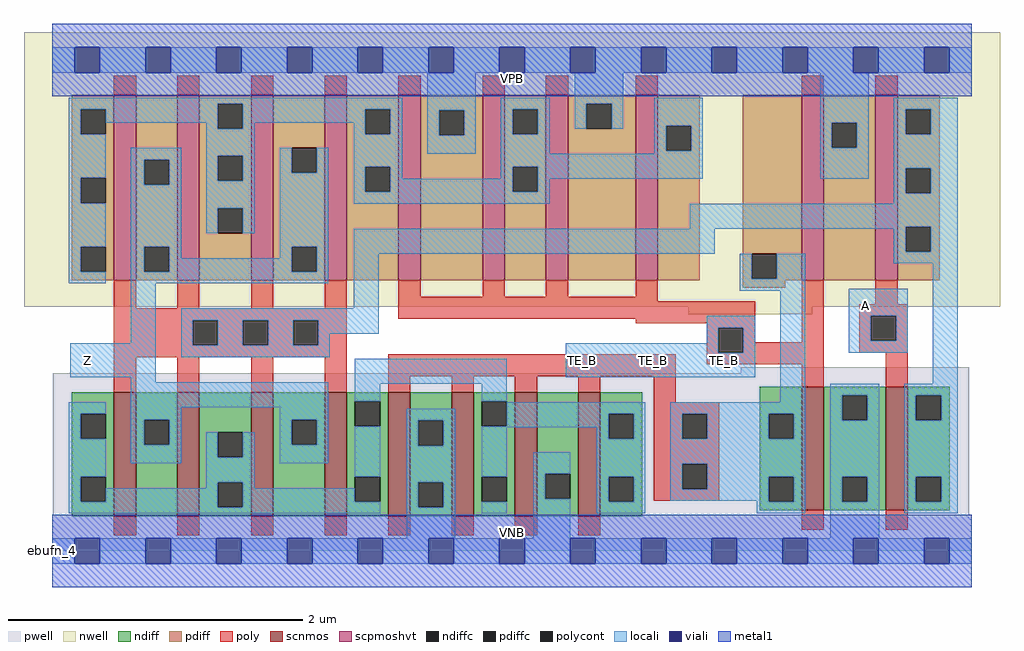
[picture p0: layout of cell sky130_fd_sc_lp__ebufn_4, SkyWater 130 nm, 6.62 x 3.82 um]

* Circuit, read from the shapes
.subckt sky130_fd_sc_lp__ebufn_4 A TE_B VGND VNB VPB VPWR Z
XM1 Z n1 n2 VNB sky130_fd_pr__nfet_01v8 w=0.84 l=0.15 m=4
XM2 VGND n3 n2 VNB sky130_fd_pr__nfet_01v8 w=0.84 l=0.15 m=4
XM3 VGND TE_B n3 VNB sky130_fd_pr__nfet_01v8 w=0.84 l=0.15
XM4 n1 A VGND VNB sky130_fd_pr__nfet_01v8 w=0.84 l=0.15
XM5 Z n1 n4 VPB sky130_fd_pr__pfet_01v8_hvt w=1.26 l=0.15 m=4
XM6 VPWR TE_B n4 VPB sky130_fd_pr__pfet_01v8_hvt w=1.26 l=0.15 m=4
XM7 VPWR TE_B n3 VPB sky130_fd_pr__pfet_01v8_hvt w=1.26 l=0.15
XM8 n1 A VPWR VPB sky130_fd_pr__pfet_01v8_hvt w=1.26 l=0.15
.ends

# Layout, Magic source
magic
tech sky130A
magscale 1 2
<< nwell >>
rect -38 331 1286 704
rect 863 321 1031 331
<< pwell >>
rect 934 241 1244 249
rect 1 49 1244 241
rect 0 0 1248 49
<< scnmos >>
rect 84 47 114 215
rect 170 47 200 215
rect 270 47 300 215
rect 370 47 400 215
rect 456 47 486 215
rect 542 47 572 215
rect 628 47 658 215
rect 714 47 744 215
rect 1017 55 1047 223
rect 1131 55 1161 223
<< scpmoshvt >>
rect 84 367 114 619
rect 170 367 200 619
rect 270 367 300 619
rect 370 367 400 619
rect 470 367 500 619
rect 584 367 614 619
rect 670 367 700 619
rect 792 367 822 619
rect 1017 367 1047 619
rect 1117 367 1147 619
<< ndiff >>
rect 27 186 84 215
rect 27 152 39 186
rect 73 152 84 186
rect 27 101 84 152
rect 27 67 39 101
rect 73 67 84 101
rect 27 47 84 67
rect 114 178 170 215
rect 114 144 125 178
rect 159 144 170 178
rect 114 47 170 144
rect 200 161 270 215
rect 200 127 225 161
rect 259 127 270 161
rect 200 93 270 127
rect 200 59 225 93
rect 259 59 270 93
rect 200 47 270 59
rect 300 178 370 215
rect 300 144 325 178
rect 359 144 370 178
rect 300 47 370 144
rect 400 203 456 215
rect 400 169 411 203
rect 445 169 456 203
rect 400 101 456 169
rect 400 67 411 101
rect 445 67 456 101
rect 400 47 456 67
rect 486 177 542 215
rect 486 143 497 177
rect 531 143 542 177
rect 486 93 542 143
rect 486 59 497 93
rect 531 59 542 93
rect 486 47 542 59
rect 572 203 628 215
rect 572 169 583 203
rect 617 169 628 203
rect 572 101 628 169
rect 572 67 583 101
rect 617 67 628 101
rect 572 47 628 67
rect 658 105 714 215
rect 658 71 669 105
rect 703 71 714 105
rect 658 47 714 71
rect 744 186 801 215
rect 744 152 755 186
rect 789 152 801 186
rect 744 101 801 152
rect 744 67 755 101
rect 789 67 801 101
rect 960 186 1017 223
rect 960 152 972 186
rect 1006 152 1017 186
rect 960 101 1017 152
rect 744 47 801 67
rect 960 67 972 101
rect 1006 67 1017 101
rect 960 55 1017 67
rect 1047 211 1131 223
rect 1047 177 1072 211
rect 1106 177 1131 211
rect 1047 101 1131 177
rect 1047 67 1072 101
rect 1106 67 1131 101
rect 1047 55 1131 67
rect 1161 211 1218 223
rect 1161 177 1172 211
rect 1206 177 1218 211
rect 1161 101 1218 177
rect 1161 67 1172 101
rect 1206 67 1218 101
rect 1161 55 1218 67
<< pdiff >>
rect 27 599 84 619
rect 27 565 39 599
rect 73 565 84 599
rect 27 506 84 565
rect 27 472 39 506
rect 73 472 84 506
rect 27 413 84 472
rect 27 379 39 413
rect 73 379 84 413
rect 27 367 84 379
rect 114 531 170 619
rect 114 497 125 531
rect 159 497 170 531
rect 114 413 170 497
rect 114 379 125 413
rect 159 379 170 413
rect 114 367 170 379
rect 200 607 270 619
rect 200 573 225 607
rect 259 573 270 607
rect 200 536 270 573
rect 200 502 225 536
rect 259 502 270 536
rect 200 465 270 502
rect 200 431 225 465
rect 259 431 270 465
rect 200 367 270 431
rect 300 547 370 619
rect 300 513 325 547
rect 359 513 370 547
rect 300 413 370 513
rect 300 379 325 413
rect 359 379 370 413
rect 300 367 370 379
rect 400 599 470 619
rect 400 565 425 599
rect 459 565 470 599
rect 400 521 470 565
rect 400 487 425 521
rect 459 487 470 521
rect 400 367 470 487
rect 500 598 584 619
rect 500 564 525 598
rect 559 564 584 598
rect 500 367 584 564
rect 614 599 670 619
rect 614 565 625 599
rect 659 565 670 599
rect 614 521 670 565
rect 614 487 625 521
rect 659 487 670 521
rect 614 367 670 487
rect 700 607 792 619
rect 700 573 725 607
rect 759 573 792 607
rect 700 367 792 573
rect 822 577 879 619
rect 822 543 833 577
rect 867 543 879 577
rect 822 367 879 543
rect 937 403 1017 619
rect 937 369 949 403
rect 983 369 1017 403
rect 937 367 1017 369
rect 1047 581 1117 619
rect 1047 547 1058 581
rect 1092 547 1117 581
rect 1047 367 1117 547
rect 1147 599 1204 619
rect 1147 565 1158 599
rect 1192 565 1204 599
rect 1147 519 1204 565
rect 1147 485 1158 519
rect 1192 485 1204 519
rect 1147 440 1204 485
rect 1147 406 1158 440
rect 1192 406 1204 440
rect 1147 367 1204 406
rect 937 357 995 367
<< ndiffc >>
rect 39 152 73 186
rect 39 67 73 101
rect 125 144 159 178
rect 225 127 259 161
rect 225 59 259 93
rect 325 144 359 178
rect 411 169 445 203
rect 411 67 445 101
rect 497 143 531 177
rect 497 59 531 93
rect 583 169 617 203
rect 583 67 617 101
rect 669 71 703 105
rect 755 152 789 186
rect 755 67 789 101
rect 972 152 1006 186
rect 972 67 1006 101
rect 1072 177 1106 211
rect 1072 67 1106 101
rect 1172 177 1206 211
rect 1172 67 1206 101
<< pdiffc >>
rect 39 565 73 599
rect 39 472 73 506
rect 39 379 73 413
rect 125 497 159 531
rect 125 379 159 413
rect 225 573 259 607
rect 225 502 259 536
rect 225 431 259 465
rect 325 513 359 547
rect 325 379 359 413
rect 425 565 459 599
rect 425 487 459 521
rect 525 564 559 598
rect 625 565 659 599
rect 625 487 659 521
rect 725 573 759 607
rect 833 543 867 577
rect 949 369 983 403
rect 1058 547 1092 581
rect 1158 565 1192 599
rect 1158 485 1192 519
rect 1158 406 1192 440
<< poly >>
rect 84 619 114 645
rect 170 619 200 645
rect 270 619 300 645
rect 370 619 400 645
rect 470 619 500 645
rect 584 619 614 645
rect 670 619 700 645
rect 792 619 822 645
rect 1017 619 1047 645
rect 1117 619 1147 645
rect 84 329 114 367
rect 170 329 200 367
rect 270 329 300 367
rect 370 329 400 367
rect 84 313 400 329
rect 470 345 500 367
rect 584 345 614 367
rect 670 345 700 367
rect 792 345 822 367
rect 470 339 822 345
rect 470 315 954 339
rect 84 279 191 313
rect 225 279 259 313
rect 293 279 327 313
rect 361 279 400 313
rect 792 309 954 315
rect 84 263 400 279
rect 888 303 954 309
rect 888 269 904 303
rect 938 283 954 303
rect 1017 283 1047 367
rect 1117 335 1147 367
rect 938 269 1047 283
rect 1095 319 1161 335
rect 1095 285 1111 319
rect 1145 285 1161 319
rect 1095 269 1161 285
rect 84 215 114 263
rect 170 215 200 263
rect 270 215 300 263
rect 370 215 400 263
rect 456 237 846 267
rect 888 253 1047 269
rect 456 215 486 237
rect 542 215 572 237
rect 628 215 658 237
rect 714 215 744 237
rect 816 202 846 237
rect 1017 223 1047 253
rect 1131 223 1161 269
rect 816 186 905 202
rect 816 152 855 186
rect 889 152 905 186
rect 816 118 905 152
rect 816 84 855 118
rect 889 84 905 118
rect 816 68 905 84
rect 84 21 114 47
rect 170 21 200 47
rect 270 21 300 47
rect 370 21 400 47
rect 456 21 486 47
rect 542 21 572 47
rect 628 21 658 47
rect 714 21 744 47
rect 1017 29 1047 55
rect 1131 29 1161 55
<< polycont >>
rect 191 279 225 313
rect 259 279 293 313
rect 327 279 361 313
rect 904 269 938 303
rect 1111 285 1145 319
rect 855 152 889 186
rect 855 84 889 118
<< locali >>
rect 0 649 31 683
rect 65 649 127 683
rect 161 649 223 683
rect 257 649 319 683
rect 353 649 415 683
rect 449 649 511 683
rect 545 649 607 683
rect 641 649 703 683
rect 737 649 799 683
rect 833 649 895 683
rect 929 649 991 683
rect 1025 649 1087 683
rect 1121 649 1183 683
rect 1217 649 1248 683
rect 23 607 475 615
rect 23 599 225 607
rect 23 565 39 599
rect 73 581 225 599
rect 23 506 73 565
rect 209 573 225 581
rect 259 599 475 607
rect 259 581 425 599
rect 259 573 275 581
rect 23 472 39 506
rect 23 413 73 472
rect 23 379 39 413
rect 23 363 73 379
rect 107 531 175 547
rect 107 497 125 531
rect 159 497 175 531
rect 107 413 175 497
rect 209 536 275 573
rect 409 565 425 581
rect 459 565 475 599
rect 209 502 225 536
rect 259 502 275 536
rect 209 465 275 502
rect 209 431 225 465
rect 259 431 275 465
rect 309 513 325 547
rect 359 513 375 547
rect 107 379 125 413
rect 159 397 175 413
rect 309 413 375 513
rect 409 521 475 565
rect 509 598 575 649
rect 509 564 525 598
rect 559 564 575 598
rect 509 539 575 564
rect 609 599 675 615
rect 609 565 625 599
rect 659 565 675 599
rect 709 607 775 649
rect 709 573 725 607
rect 759 573 775 607
rect 817 577 883 615
rect 609 539 675 565
rect 817 543 833 577
rect 867 543 883 577
rect 817 539 883 543
rect 409 487 425 521
rect 459 505 475 521
rect 609 521 883 539
rect 609 505 625 521
rect 459 487 625 505
rect 659 505 883 521
rect 1042 581 1108 649
rect 1042 547 1058 581
rect 1092 547 1108 581
rect 1042 505 1108 547
rect 1142 599 1229 615
rect 1142 565 1158 599
rect 1192 565 1229 599
rect 1142 519 1229 565
rect 659 487 675 505
rect 409 471 675 487
rect 1142 485 1158 519
rect 1192 485 1229 519
rect 1142 471 1229 485
rect 865 440 1229 471
rect 865 437 1158 440
rect 309 397 325 413
rect 159 379 325 397
rect 359 379 375 413
rect 107 363 375 379
rect 409 403 899 437
rect 1142 406 1158 437
rect 1192 406 1229 440
rect 107 282 141 363
rect 409 329 443 403
rect 933 369 949 403
rect 983 369 1022 403
rect 1142 390 1229 406
rect 933 353 1022 369
rect 25 236 141 282
rect 175 313 443 329
rect 175 279 191 313
rect 225 279 259 313
rect 293 279 327 313
rect 361 295 443 313
rect 888 303 954 319
rect 361 279 377 295
rect 888 282 904 303
rect 175 263 377 279
rect 697 269 904 282
rect 938 269 954 303
rect 107 229 141 236
rect 23 186 73 202
rect 23 152 39 186
rect 23 101 73 152
rect 107 195 375 229
rect 107 178 175 195
rect 107 144 125 178
rect 159 144 175 178
rect 309 178 375 195
rect 107 119 175 144
rect 209 127 225 161
rect 259 127 275 161
rect 23 67 39 101
rect 209 93 275 127
rect 309 144 325 178
rect 359 144 375 178
rect 309 119 375 144
rect 411 227 617 261
rect 697 236 954 269
rect 411 203 445 227
rect 583 203 617 227
rect 209 85 225 93
rect 73 67 225 85
rect 23 59 225 67
rect 259 85 275 93
rect 411 101 445 169
rect 259 67 411 85
rect 259 59 445 67
rect 23 51 445 59
rect 481 177 547 193
rect 481 143 497 177
rect 531 143 547 177
rect 481 93 547 143
rect 481 59 497 93
rect 531 59 547 93
rect 481 17 547 59
rect 988 202 1022 353
rect 1081 319 1161 356
rect 1081 285 1111 319
rect 1145 285 1161 319
rect 1081 269 1161 285
rect 1195 227 1229 390
rect 617 186 805 202
rect 617 169 755 186
rect 583 168 755 169
rect 583 101 617 168
rect 739 152 755 168
rect 789 152 805 186
rect 583 51 617 67
rect 653 105 703 134
rect 653 71 669 105
rect 653 17 703 71
rect 739 101 805 152
rect 739 67 755 101
rect 789 67 805 101
rect 839 186 1022 202
rect 839 152 855 186
rect 889 152 972 186
rect 1006 152 1022 186
rect 839 118 1022 152
rect 839 84 855 118
rect 889 101 1022 118
rect 889 84 972 101
rect 839 68 972 84
rect 739 51 805 67
rect 956 67 972 68
rect 1006 67 1022 101
rect 956 51 1022 67
rect 1056 211 1122 227
rect 1056 177 1072 211
rect 1106 177 1122 211
rect 1056 101 1122 177
rect 1056 67 1072 101
rect 1106 67 1122 101
rect 1056 17 1122 67
rect 1156 211 1229 227
rect 1156 177 1172 211
rect 1206 177 1229 211
rect 1156 101 1229 177
rect 1156 67 1172 101
rect 1206 67 1229 101
rect 1156 51 1229 67
rect 0 -17 31 17
rect 65 -17 127 17
rect 161 -17 223 17
rect 257 -17 319 17
rect 353 -17 415 17
rect 449 -17 511 17
rect 545 -17 607 17
rect 641 -17 703 17
rect 737 -17 799 17
rect 833 -17 895 17
rect 929 -17 991 17
rect 1025 -17 1087 17
rect 1121 -17 1183 17
rect 1217 -17 1248 17
<< viali >>
rect 31 649 65 683
rect 127 649 161 683
rect 223 649 257 683
rect 319 649 353 683
rect 415 649 449 683
rect 511 649 545 683
rect 607 649 641 683
rect 703 649 737 683
rect 799 649 833 683
rect 895 649 929 683
rect 991 649 1025 683
rect 1087 649 1121 683
rect 1183 649 1217 683
rect 31 -17 65 17
rect 127 -17 161 17
rect 223 -17 257 17
rect 319 -17 353 17
rect 415 -17 449 17
rect 511 -17 545 17
rect 607 -17 641 17
rect 703 -17 737 17
rect 799 -17 833 17
rect 895 -17 929 17
rect 991 -17 1025 17
rect 1087 -17 1121 17
rect 1183 -17 1217 17
<< metal1 >>
rect 0 683 1248 715
rect 0 649 31 683
rect 65 649 127 683
rect 161 649 223 683
rect 257 649 319 683
rect 353 649 415 683
rect 449 649 511 683
rect 545 649 607 683
rect 641 649 703 683
rect 737 649 799 683
rect 833 649 895 683
rect 929 649 991 683
rect 1025 649 1087 683
rect 1121 649 1183 683
rect 1217 649 1248 683
rect 0 617 1248 649
rect 0 17 1248 49
rect 0 -17 31 17
rect 65 -17 127 17
rect 161 -17 223 17
rect 257 -17 319 17
rect 353 -17 415 17
rect 449 -17 511 17
rect 545 -17 607 17
rect 641 -17 703 17
rect 737 -17 799 17
rect 833 -17 895 17
rect 929 -17 991 17
rect 1025 -17 1087 17
rect 1121 -17 1183 17
rect 1217 -17 1248 17
rect 0 -49 1248 -17
<< labels >>
flabel pwell s 0 0 1248 49 0 FreeSans 200 0 0 0 VNB
port 4 nsew ground bidirectional
flabel nwell s 0 617 1248 666 0 FreeSans 200 0 0 0 VPB
port 5 nsew power bidirectional
rlabel comment s 0 0 0 0 4 ebufn_4
flabel metal1 s 0 617 1248 666 0 FreeSans 340 0 0 0 VPWR
port 6 nsew power bidirectional
flabel metal1 s 0 0 1248 49 0 FreeSans 340 0 0 0 VGND
port 3 nsew ground bidirectional
flabel locali s 703 242 737 276 0 FreeSans 340 0 0 0 TE_B
port 2 nsew signal input
flabel locali s 799 242 833 276 0 FreeSans 340 0 0 0 TE_B
port 2 nsew signal input
flabel locali s 895 242 929 276 0 FreeSans 340 0 0 0 TE_B
port 2 nsew signal input
flabel locali s 1087 316 1121 350 0 FreeSans 340 0 0 0 A
port 1 nsew signal input
flabel locali s 31 242 65 276 0 FreeSans 340 0 0 0 Z
port 7 nsew signal output
<< properties >>
string LEFsite unit
string LEFclass CORE
string FIXED_BBOX 0 0 1248 666
string GDS_FILE $PDKPATH/libs.ref/sky130_fd_sc_lp/gds/sky130_fd_sc_lp.gds
string LEFsymmetry X Y R90
string GDS_END 3440388
string GDS_START 3430938
<< end >>
